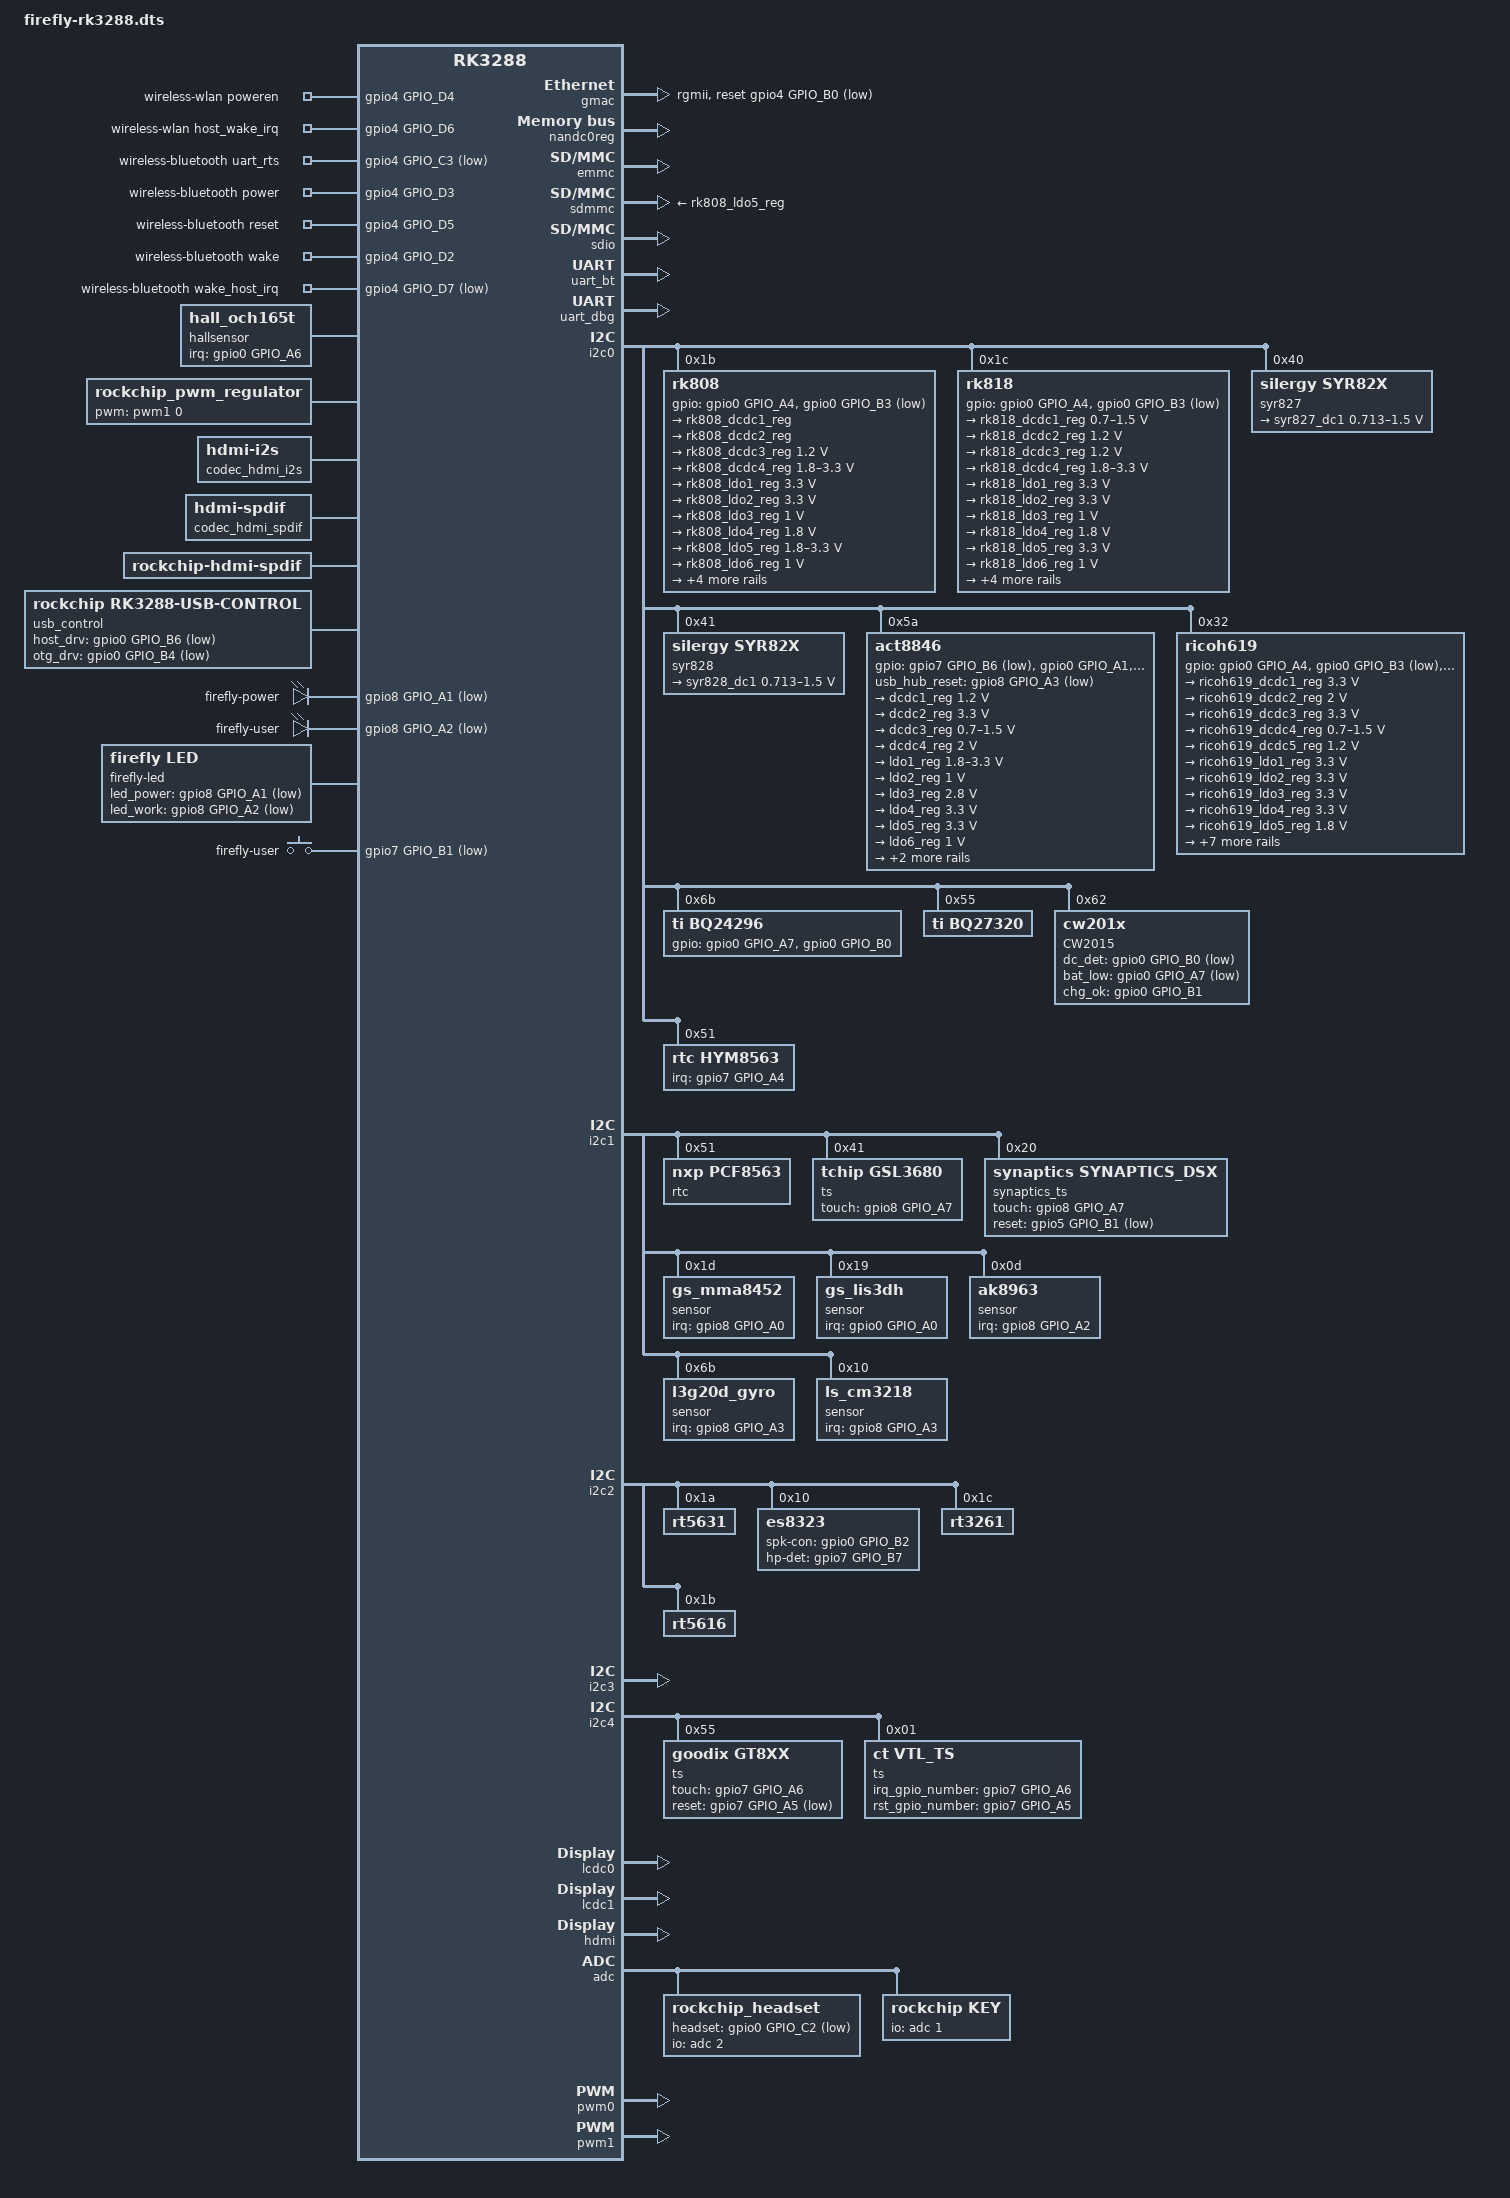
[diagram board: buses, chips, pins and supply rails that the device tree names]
/dts-v1/;

#include "rk3288.dtsi"
#include "lcd-ips5k0350fpc-mipi.dtsi"

/{
	fiq-debugger {
		status = "disabled";
	};

    	wireless-wlan {
        	compatible = "wlan-platdata";

        	/* wifi_chip_type - wifi chip define
         	* bcmwifi ==> like ap6xxx, rk90x;
         	* rtkwifi ==> like rtl8188xx, rtl8723xx;
         	* esp8089 ==> esp8089;
         	* other   ==> for other wifi;
         	*/
        	wifi_chip_type = "bcmwifi";

        	sdio_vref = <1800>; //1800mv or 3300mv

        	//keep_wifi_power_on;

        	//power_ctrl_by_pmu;
        	power_pmu_regulator = "act_ldo3";
        	power_pmu_enable_level = <1>; //1->HIGH, 0->LOW

        	//vref_ctrl_enable;
        	//vref_ctrl_gpio = <&gpio0 GPIO_A2 GPIO_ACTIVE_HIGH>;
        	vref_pmu_regulator = "act_ldo3";
        	vref_pmu_enable_level = <1>; //1->HIGH, 0->LOW

        	WIFI,poweren_gpio = <&gpio4 GPIO_D4 GPIO_ACTIVE_HIGH>;
        	WIFI,host_wake_irq = <&gpio4 GPIO_D6 GPIO_ACTIVE_HIGH>;
        	//WIFI,reset_gpio = <&gpio0 GPIO_A2 GPIO_ACTIVE_LOW>;

        	status = "okay";
    	};

    	wireless-bluetooth {
       	compatible = "bluetooth-platdata";

       	//wifi-bt-power-toggle;

       	uart_rts_gpios = <&gpio4 GPIO_C3 GPIO_ACTIVE_LOW>;
       	pinctrl-names = "default","rts_gpio";
       	pinctrl-0 = <&uart0_rts>;
       	pinctrl-1 = <&uart0_rts_gpio>;

       	BT,power_gpio = <&gpio4 GPIO_D3 GPIO_ACTIVE_HIGH>;
       	BT,reset_gpio = <&gpio4 GPIO_D5 GPIO_ACTIVE_HIGH>;
       	BT,wake_gpio = <&gpio4 GPIO_D2 GPIO_ACTIVE_HIGH>;
       	BT,wake_host_irq = <&gpio4 GPIO_D7 GPIO_ACTIVE_LOW>;

        	status = "okay";
    	};

    	hallsensor {
              compatible = "hall_och165t";
              type = <SENSOR_TYPE_HALL>;
              irq-gpio = <&gpio0 GPIO_A6 IRQ_TYPE_EDGE_BOTH>;
     	};

	pwm_regulator {
		compatible = "rockchip_pwm_regulator";
		pwms = <&pwm1 0 2000>;
		rockchip,pwm_id= <1>;
		rockchip,pwm_voltage_map= <925000 950000 975000 1000000 1025000 1050000 1075000 1100000 1125000 1150000 1175000 1200000 1225000 1250000 1275000 1300000 1325000 1350000 1375000 1400000>;
		rockchip,pwm_voltage= <1000000>;
		rockchip,pwm_min_voltage= <925000>;
		rockchip,pwm_max_voltage= <1400000>;
		rockchip,pwm_suspend_voltage= <950000>;
		rockchip,pwm_coefficient= <475>;
		regulators {
			#address-cells = <1>;
			#size-cells = <0>;
			pwm_reg0: regulator@0 {
				regulator-compatible = "pwm_dcdc1";
				regulator-name= "vdd_logic";
				regulator-min-microvolt = <925000>;
				regulator-max-microvolt = <1400000>;
				regulator-always-on;
				regulator-boot-on;
			};
		};
	};

	codec_hdmi_i2s: codec-hdmi-i2s {
		compatible = "hdmi-i2s";
	};

	codec_hdmi_spdif: codec-hdmi-spdif {
		compatible = "hdmi-spdif";
	};

	rockchip-hdmi-i2s {
		compatible = "rockchip-hdmi-i2s";
		dais {
			dai0 {
				audio-codec = <&codec_hdmi_i2s>;
				i2s-controller = <&i2s>;
				format = "i2s";
				//continuous-clock;
				//bitclock-inversion;
				//frame-inversion;
				//bitclock-master;
				//frame-master;
			};
		};
	};
	
	rockchip-hdmi-spdif {
		compatible = "rockchip-hdmi-spdif";
		dais {
			dai0 {
				audio-codec = <&codec_hdmi_spdif>;
				i2s-controller = <&spdif>;
			};
		};
	};

	rockchip-rt5631 {
		compatible = "rockchip-rt5631";
		dais {
			dai0 {
				audio-codec = <&rt5631>;
				i2s-controller = <&i2s>;
				format = "i2s";
				//continuous-clock;
				//bitclock-inversion;
				//frame-inversion;
				//bitclock-master;
				//frame-master;
			};
		};
	};
	
	rockchip-es8323 {
		compatible = "rockchip-es8323";
		dais {
			dai0 {
				audio-codec = <&es8323>;
				i2s-controller = <&i2s>;
				format = "i2s";
				//continuous-clock;
				//bitclock-inversion;
				//frame-inversion;
				//bitclock-master;
				//frame-master;
			};
		};
	};
	
	rockchip-rt3224 {
		compatible = "rockchip-rt3261";
		dais {
			dai0 {
				audio-codec = <&rt3261>;
				i2s-controller = <&i2s>;
				format = "i2s";
				//continuous-clock;
				//bitclock-inversion;
				//frame-inversion;
				//bitclock-master;
				//frame-master;
			};
			dai1 {
				audio-codec = <&rt3261>;
				i2s-controller = <&i2s>;
				format = "dsp_a";
				//continuous-clock;
				bitclock-inversion;
				//frame-inversion;
				//bitclock-master;
				//frame-master;
			};
		};
	};

	usb_control {
		compatible = "rockchip,rk3288-usb-control";

		host_drv_gpio = <&gpio0 GPIO_B6 GPIO_ACTIVE_LOW>;
		otg_drv_gpio = <&gpio0 GPIO_B4 GPIO_ACTIVE_LOW>;

		rockchip,remote_wakeup;
		rockchip,usb_irq_wakeup;
	};
	
	leds {
		compatible = "gpio-leds";
		power {
			label = "firefly-power";
			linux,default-trigger = "ir-power-click";
			default-state = "on";
			gpios = <&gpio8 GPIO_A1 GPIO_ACTIVE_LOW>;

		};
		
		user{
			label = "firefly-user";
			linux,default-trigger = "ir-user-click";
			default-state = "off";
			gpios = <&gpio8 GPIO_A2 GPIO_ACTIVE_LOW>;
		};
	};

	/*add by qiyei2009*/
	firefly-led{
		compatible = "firefly,led";
		led_power = <&gpio8 GPIO_A1 GPIO_ACTIVE_LOW>;
		led_work = <&gpio8 GPIO_A2 GPIO_ACTIVE_LOW>;
		status = "okay";

	};
	
	/*add by qiyei2009*/
	gpio_keys {
		compatible = "gpio-keys";

		menu {
			label = "firefly-user";
			linux,code = <139>;
			gpios = <&gpio7 GPIO_B1 1>;
			//gpio-key,wakeup;
		};
	};
	
};

&gmac {
//	power_ctl_by = "gpio";	//"gpio" "pmu"
	power-gpio = <&gpio0 GPIO_A6 GPIO_ACTIVE_HIGH>;
//	power-pmu = "act_ldo"
	reset-gpio = <&gpio4 GPIO_B0 GPIO_ACTIVE_LOW>;
	phy-mode = "rgmii";
	clock_in_out = "input";
	tx_delay = <0x30>;
	rx_delay = <0x20>;
	status = "okay";  //if want to use gmac, please set "okay"
};

&pinctrl {
	//used for init some gpio

	gpio0_gpio {
			gpio0_c2: gpio0-c2 {
				rockchip,pins = <GPIO0_C2>;
				rockchip,pull = <VALUE_PULL_DOWN>;
			};

			//to add
		};
		
	gpio7_gpio {
			gpio7_b7: gpio7-b7 {
				rockchip,pins = <GPIO7_B7>;
				rockchip,pull = <VALUE_PULL_UP>;
			};

			//to add
		};
		
	//could add other pinctrl definition such as gpio

	// gmac drive strength
	gpio4_gmac {
		mac_clk: mac-clk {
			rockchip,drive = <VALUE_DRV_12MA>;
		};

		mac_txpins: mac-txpins {
			rockchip,drive = <VALUE_DRV_12MA>;
		};

		mac_rxpins: mac-rxpins {
			rockchip,drive = <VALUE_DRV_12MA>;
		};

		mac_crs: mac-crs {
			rockchip,drive = <VALUE_DRV_12MA>;
		};

		mac_mdpins: mac-mdpins {
			rockchip,drive = <VALUE_DRV_12MA>;
		};
	};
};

&nandc0 {
	status = "disabled"; // used nand set "disabled" ,used emmc set "okay"
};

&nandc1 {
	status = "disabled"; // used nand set "disabled" ,used emmc set "okay"
};   

&nandc0reg {
	status = "okay"; // used nand set "disabled" ,used emmc set "okay"
};

&emmc {
	clock-frequency = <100000000>;
	clock-freq-min-max = <400000 100000000>;

        supports-highspeed;
	supports-emmc;
        bootpart-no-access;
	
	//supports-tSD;
	//supports-DDR_MODE; //you should set the two value in your project. only close in RK3288-SDK board.
	//caps2-mmc-hs200;

        ignore-pm-notify;
	keep-power-in-suspend;
	
	//poll-hw-reset 
	status = "okay";
};
    
&sdmmc {
		clock-frequency = <50000000>;
		clock-freq-min-max = <400000 50000000>;
		supports-highspeed;
		supports-sd;
		broken-cd;
		card-detect-delay = <200>;

		ignore-pm-notify;
        	keep-power-in-suspend;
	
        	vmmc-supply = <&rk808_ldo5_reg>;
		status = "okay";
};
		
&sdio {
		clock-frequency = <50000000>;
		clock-freq-min-max = <200000 50000000>;
		supports-highspeed;
		supports-sdio;
		ignore-pm-notify;
		keep-power-in-suspend;
		//cap-sdio-irq;
		status = "okay";
};

&spi0 {
	status = "disabled";
	max-freq = <48000000>;	
	/*
	spi_test@00 {
     		compatible = "rockchip,spi_test_bus0_cs0";
                reg = <0>;
                spi-max-frequency = <24000000>;
                //spi-cpha;
		//spi-cpol;
                poll_mode = <0>;
	        type = <0>;
		enable_dma = <0>;

	};

	spi_test@01 {
	        compatible = "rockchip,spi_test_bus0_cs1";
	        reg = <1>;
	        spi-max-frequency = <24000000>;
	        spi-cpha;
		spi-cpol;
	        poll_mode = <0>;
	        type = <0>;
		enable_dma = <0>;	        
	};
	*/
};

&spi1 {
	status = "disabled";
	max-freq = <48000000>;
	/*
	spi_test@10 {
	        compatible = "rockchip,spi_test_bus1_cs0";
	        reg = <0>;
	        spi-max-frequency = <24000000>;
	        //spi-cpha;
		//spi-cpol;
	        poll_mode = <0>;
	        type = <0>;
		enable_dma = <0>;
	};

	*/
};

&spi2 {
	status = "disabled";
	max-freq = <48000000>;
	/*
	spi_test@20 {
	        compatible = "rockchip,spi_test_bus2_cs0";
	        reg = <0>;
	        spi-max-frequency = <24000000>;
	        //spi-cpha;
		//spi-cpol;
	        poll_mode = <0>;
	        type = <0>;
		enable_dma = <0>;
	};

	spi_test@21 {
	        compatible = "rockchip,spi_test_bus2_cs1";
	        reg = <1>;
	        spi-max-frequency = <24000000>;
	        //spi-cpha;
		//spi-cpol;
	        poll_mode = <0>;
	        type = <0>;
		enable_dma = <0>;
	};
	*/
};

&uart_bt {
        status = "okay";
        dma-names = "!tx", "!rx";
        pinctrl-0 = <&uart0_xfer &uart0_cts>;
};

&uart_dbg {
	status = "okay";
};


&i2c0 {
	status = "okay";
	rk808: rk808@1b {
		reg = <0x1b>;
		status = "okay";
	};
	rk818: rk818@1c {
		reg = <0x1c>;
		status = "okay";
 	};
		syr827: syr827@40 {
		compatible = "silergy,syr82x";
  	reg = <0x40>;
		status = "okay";
		regulators {
			#address-cells = <1>;
			#size-cells = <0>;	
			syr827_dc1: regulator@0 {
			reg = <0>;
			regulator-compatible = "syr82x_dcdc1";
			regulator-name = "vdd_arm";
			regulator-min-microvolt = <712500>;
			regulator-max-microvolt = <1500000>;
			regulator-always-on;
			regulator-boot-on;
			regulator-initial-mode = <0x2>;
			regulator-initial-state = <3>;
			regulator-state-mem {
				regulator-state-mode = <0x2>;
				regulator-state-disabled;
				regulator-state-uv = <900000>;
			};
		};
	   };
	};
	
	syr828: syr828@41 {
		compatible = "silergy,syr82x";
		reg = <0x41>;
		status = "okay";
		regulators {
			#address-cells = <1>;
			#size-cells = <0>;	
			syr828_dc1: regulator@0 {
			reg = <0>;
			regulator-compatible = "syr82x_dcdc1";
			regulator-name = "vdd_gpu";
			regulator-min-microvolt = <712500>;
			regulator-max-microvolt = <1500000>;
			regulator-always-on;
  		regulator-boot-on;
			regulator-initial-mode = <0x2>;
			regulator-initial-state = <3>;
			regulator-state-mem {
				regulator-state-mode = <0x2>;
				regulator-state-enabled;
				regulator-state-uv = <900000>;
			};	
		};
	   };
	};
	
	act8846: act8846@5a {
		reg = <0x5a>;
		status = "okay";
	};

	ricoh619: ricoh619@32 {
		reg = <0x32>;
 		status = "okay";
 	};
	
	bq24296: bq24296@6b {
		compatible = "ti,bq24296";
		reg = <0x6b>;
		gpios = <&gpio0 GPIO_A7 GPIO_ACTIVE_HIGH>,<&gpio0 GPIO_B0 GPIO_ACTIVE_HIGH>;
		bq24296,chg_current = <1000 2000 3000>;
		status = "okay";
	};
	
	bq27320: bq27320@55 {
		compatible = "ti,bq27320";
		reg = <0x55>;
	/*   gpios = <&gpio0 GPIO_A7 GPIO_ACTIVE_HIGH>; */
		status = "okay";
	};

	CW2015@62 {
		compatible = "cw201x";
		reg = <0x62>;
		dc_det_gpio = <&gpio0 GPIO_B0 GPIO_ACTIVE_LOW>;
		bat_low_gpio = <&gpio0 GPIO_A7 GPIO_ACTIVE_LOW>;
		chg_ok_gpio = <&gpio0 GPIO_B1 GPIO_ACTIVE_HIGH>;
		bat_config_info = <0x15 0x42 0x60 0x59 0x52 0x58 0x4D 0x48 0x48 0x44 0x44 0x46 0x49 0x48 0x32
			0x24 0x20 0x17 0x13 0x0F 0x19 0x3E 0x51 0x45 0x08 0x76 0x0B 0x85 0x0E 0x1C 0x2E 0x3E 0x4D 0x52 0x52
			0x57 0x3D 0x1B 0x6A 0x2D 0x25 0x43 0x52 0x87 0x8F 0x91 0x94 0x52 0x82 0x8C 0x92 0x96 0xFF 0x7B 0xBB
			0xCB 0x2F 0x7D 0x72 0xA5 0xB5 0xC1 0x46 0xAE>;
		is_dc_charge = <1>;
		is_usb_charge = <0>;
	};
	
	rtc@51 {
		compatible = "rtc,hym8563";
		reg = <0x51>;
		irq_gpio = <&gpio7 GPIO_A4 IRQ_TYPE_EDGE_FALLING>;
	};


};

&i2c1 {
	
	status = "okay";
	
	rtc@51 {
		compatible = "nxp,pcf8563";
		reg = <0x51>;
	};
	
    	ts@41 { 
        	compatible = "tchip,gsl3680";
        	reg = <0x41>;
        	touch-gpio = <&gpio8 GPIO_A7 IRQ_TYPE_EDGE_RISING>;
        	//reset-gpio = <&gpio8 GPIO_A6 GPIO_ACTIVE_LOW>;
        	max-x = <1280>;
        	max-y = <800>;
    	};   

	synaptics_ts@20 {
		compatible = "synaptics,synaptics_dsx";
		reg = <0x20>;
        	touch-gpio = <&gpio8 GPIO_A7 IRQ_TYPE_EDGE_FALLING>;
		reset-gpio = <&gpio5 GPIO_B1 GPIO_ACTIVE_LOW>;
		//power-gpio = <&gpio0 GPIO_C5 GPIO_ACTIVE_LOW>;
		max-x = <1080>;
		max-y = <1920>;
		flip-x = <0>;
		flip-y = <0>;
	};

	sensor@1d {
		compatible = "gs_mma8452";
		reg = <0x1d>;
		type = <SENSOR_TYPE_ACCEL>;
		irq-gpio = <&gpio8 GPIO_A0 IRQ_TYPE_EDGE_FALLING>;
		irq_enable = <1>;
		poll_delay_ms = <30>;
		layout = <1>;
	};
	
	sensor@19 {
		compatible = "gs_lis3dh";
		reg = <0x19>;
		type = <SENSOR_TYPE_ACCEL>;
		irq-gpio = <&gpio0 GPIO_A0 IRQ_TYPE_LEVEL_LOW>;
		irq_enable = <1>;
		poll_delay_ms = <30>;
		layout = <1>;
	};
	
	sensor@0d {
		compatible = "ak8963";
		reg = <0x0d>;
		type = <SENSOR_TYPE_COMPASS>;
		irq-gpio = <&gpio8 GPIO_A2 IRQ_TYPE_EDGE_RISING>;
		irq_enable = <1>;
		poll_delay_ms = <30>;
		layout = <1>;
	};

	sensor@6b {
		compatible = "l3g20d_gyro";
		reg = <0x6b>;
		type = <SENSOR_TYPE_GYROSCOPE>;
		irq-gpio = <&gpio8 GPIO_A3 IRQ_TYPE_LEVEL_LOW>;
		irq_enable = <1>;
		poll_delay_ms = <30>;
		layout = <1>;
	};
	
	sensor@10 {
              compatible = "ls_cm3218";
              reg = <0x10>;
              type = <SENSOR_TYPE_LIGHT>;
              irq-gpio = <&gpio8 GPIO_A3 IRQ_TYPE_EDGE_FALLING>;              
              irq_enable = <1>;
              poll_delay_ms = <30>;
              layout = <1>;
       };

    	nfc-bcm2079x@76 {
        	compatible = "nfc-bcm2079x.ap6441";
        	reg = <0x76>;
        	en_gpio = <&gpio4 GPIO_D3 GPIO_ACTIVE_HIGH>;
        	wake_gpio = <&gpio5 GPIO_C0 GPIO_ACTIVE_HIGH>;
        	irq_gpio = <&gpio5 GPIO_B7 IRQ_TYPE_EDGE_RISING>;
        	status = "disabled";
    	};
		
    	nfc-bcm2079x@77 {
        	compatible = "nfc-bcm2079x.ap6493";
        	reg = <0x77>;
        	en_gpio = <&gpio4 GPIO_D3 GPIO_ACTIVE_HIGH>;
        	wake_gpio = <&gpio5 GPIO_C0 GPIO_ACTIVE_HIGH>;
        	irq_gpio = <&gpio5 GPIO_B7 IRQ_TYPE_EDGE_RISING>;
        	status = "disabled";
    	};
};

&i2c2 {
	status = "okay";
	
	rt5631: rt5631@1a {
		compatible = "rt5631";
		reg = <0x1a>;
	};
	
	es8323: es8323@10 {
		compatible = "es8323";
		reg = <0x10>;
		spk-con-gpio = <&gpio0 GPIO_B2 GPIO_ACTIVE_HIGH>;
		hp-det-gpio = <&gpio7 GPIO_B7 GPIO_ACTIVE_HIGH>;
		hp-mic-only = <1>;
	};
	
	rt3261: rt3261@1c {
		compatible = "rt3261";
		reg = <0x1c>;
	//	codec-en-gpio = <0>;//sdk default high level
		spk-num= <2>;
		modem-input-mode = <1>;
		lout-to-modem_mode = <1>;
		spk-amplify = <2>;
		playback-if1-data_control = <0>;
		playback-if2-data_control = <0>;
	};
	
	rt5616: rt5616@1b {
		compatible = "rt5616";
		reg = <0x1b>;
	};
};

&i2c3 {
	status = "okay";
};

&i2c4 {
	status = "okay";
	ts@55 {
		compatible = "goodix,gt8xx";
		reg = <0x55>;
		touch-gpio = <&gpio7 GPIO_A6 IRQ_TYPE_LEVEL_LOW>;
		reset-gpio = <&gpio7 GPIO_A5 GPIO_ACTIVE_LOW>;
		//power-gpio = <&gpio0 GPIO_C5 GPIO_ACTIVE_LOW>;
		max-x = <1280>;
		max-y = <800>;
	};
	
	ts@01 {
		compatible = "ct,vtl_ts";
		reg = <0x01>;
		screen_max_x = <2048>;
		screen_max_y = <1536>;
		irq_gpio_number = <&gpio7 GPIO_A6 IRQ_TYPE_LEVEL_LOW>;
		rst_gpio_number = <&gpio7 GPIO_A5 GPIO_ACTIVE_HIGH>;
	};
};

&i2c5 {
	status = "disabled";
};

&fb {
	rockchip,disp-mode = <DUAL>;
	rockchip,uboot-logo-on = <0>;
};

&rk_screen {
	 display-timings = <&disp_timings>;
};

/*lcdc0 as PRMRY(LCD),lcdc1 as EXTEND(HDMI)*/
&lcdc0 {
	status = "okay";
	rockchip,mirror = <NO_MIRROR>;
	/*rockchip,mirror = <ROTATE_90>;*/
	rockchip,cabc_mode = <0>;
	power_ctr: power_ctr {
		rockchip,debug = <0>;
		/*lcd_en:lcd_en {
			rockchip,power_type = <GPIO>;
			gpios = <&gpio7 GPIO_A3 GPIO_ACTIVE_HIGH>;
			rockchip,delay = <10>;
		};*/
		
		/*lcd_cs:lcd_cs {
			rockchip,power_type = <GPIO>;
			gpios = <&gpio7 GPIO_A4 GPIO_ACTIVE_HIGH>;
			rockchip,delay = <10>;
		};*/

		lcd_rst:lcd_rst {
			rockchip,power_type = <GPIO>;
			gpios = <&gpio0 GPIO_B5 GPIO_ACTIVE_LOW>;
			rockchip,delay = <10>;
		};

	};
};

&lcdc1 {
	status = "okay";
	rockchip,mirror = <ROTATE_270>;
};

&hdmi {
	status = "okay";
	rockchips,hdmi_audio_source = <0>;
};

&adc {
	status = "okay";

	rockchip_headset {
		compatible = "rockchip_headset";
		headset_gpio = <&gpio0 GPIO_C2 GPIO_ACTIVE_LOW>;
		pinctrl-names = "default";
		pinctrl-0 = <&gpio0_c2>;
		io-channels = <&adc 2>; 
       /*
               hook_gpio = ;
               hook_down_type = ; //interrupt hook key down status 
		*/       
       };

	key {
		compatible = "rockchip,key";
		io-channels = <&adc 1>;
		/*
		vol-up-key {
			linux,code = <115>;
			label = "volume up";
			rockchip,adc_value = <1>;
		};

		vol-down-key {
			linux,code = <114>;
			label = "volume down";
			rockchip,adc_value = <170>;
		};
		*/
		power-key {
			gpios = <&gpio0 GPIO_A5 GPIO_ACTIVE_LOW>;
			linux,code = <116>;
			label = "power";
			gpio-key,wakeup;
		};
		/*
		menu-key {
			linux,code = <59>;
			label = "menu";
			rockchip,adc_value = <355>;
		};

		home-key {
			linux,code = <102>;
			label = "home";
			rockchip,adc_value = <746>;
		};

		back-key {
			linux,code = <158>;
			label = "back";
			rockchip,adc_value = <560>;
		};

		camera-key {
			linux,code = <212>;
			label = "camera";
			rockchip,adc_value = <450>;
		};*/
	};
};

&pwm0 {
        interrupts = <GIC_SPI 78 IRQ_TYPE_LEVEL_HIGH>;
        status = "okay";
};

&pwm1 {
	status = "okay";
};


&clk_core_dvfs_table {
	operating-points = <
		/* KHz    uV */
		126000 900000
		216000 900000
		312000 900000
		408000 900000
		600000 900000
		696000 950000
		816000 1000000
		1008000 1050000
		1200000 1100000
		1416000 1200000
		1512000 1300000
		1608000 1350000
		1704000 1350000
		1800000 1350000
		>;
	status="okay";
};

&clk_gpu_dvfs_table {
	operating-points = <
		/* KHz    uV */
		100000 850000
		200000 900000
		300000 950000
		420000 1050000
		500000 1150000
		>;
	status="okay";
};

&clk_ddr_dvfs_table {
	operating-points = <
		/* KHz    uV */
		200000 950000
		300000 950000
		400000 1000000
		533000 1050000
		>;

	freq-table = <
		/*status		freq(KHz)*/
		SYS_STATUS_NORMAL	400000
		SYS_STATUS_SUSPEND	200000
		SYS_STATUS_VIDEO_1080P  240000
		SYS_STATUS_VIDEO_4K     400000
		SYS_STATUS_PERFORMANCE  528000
		SYS_STATUS_DUALVIEW	400000
		SYS_STATUS_BOOST	324000
		SYS_STATUS_ISP		533000
		>;
	auto-freq-table = <
		240000
		324000
		396000
		528000
		>;
	auto-freq=<0>;
	status="okay";
};
/include/ "act8846.dtsi"
&act8846 {
	gpios =<&gpio7 GPIO_B6 GPIO_ACTIVE_LOW>,<&gpio0 GPIO_A1 GPIO_ACTIVE_HIGH>,<&gpio7 GPIO_B2 GPIO_ACTIVE_HIGH>;
	usb_hub_reset_gpio =<&gpio8 GPIO_A3 GPIO_ACTIVE_LOW>;
	act8846,system-power-controller;

	regulators {
		
		dcdc1_reg: regulator@0{
			regulator-name= "act_dcdc1";
			regulator-min-microvolt = <1200000>;
			regulator-max-microvolt = <1200000>;
			regulator-always-on;
			regulator-boot-on;
		};

		dcdc2_reg: regulator@1 {
			regulator-name= "vccio";
			regulator-min-microvolt = <3300000>;
			regulator-max-microvolt = <3300000>;
			regulator-initial-state = <3>;
			regulator-state-mem {
				regulator-state-enabled;
				regulator-state-uv = <3300000>;
			};		
		};

		dcdc3_reg: regulator@2 {
			regulator-name= "vdd_logic";
			regulator-min-microvolt = <700000>;
			regulator-max-microvolt = <1500000>;
			regulator-initial-state = <3>;
			regulator-state-mem {
				regulator-state-enabled;
				regulator-state-uv = <1200000>;
			};		
		
		};

		dcdc4_reg: regulator@3 {
			regulator-name= "act_dcdc4";
			regulator-min-microvolt = <2000000>;
			regulator-max-microvolt = <2000000>;
				regulator-initial-state = <3>;
			regulator-state-mem {
				regulator-state-enabled;
				regulator-state-uv = <2000000>;
			};
		};

		ldo1_reg: regulator@4 {
			regulator-name= "vccio_sd";
			regulator-min-microvolt = <1800000>;
			regulator-max-microvolt = <3300000>;
			
		};

		ldo2_reg: regulator@5 {
			regulator-name= "act_ldo2";
			regulator-min-microvolt = <1000000>;
			regulator-max-microvolt = <1000000>;
		
		};

		ldo3_reg: regulator@6 {
			regulator-name= "act_ldo3";
			regulator-min-microvolt = <2800000>;
			regulator-max-microvolt = <2800000>;
			
		};

		ldo4_reg:regulator@7 {
			regulator-name= "act_ldo4";
			regulator-min-microvolt = <3300000>;
			regulator-max-microvolt = <3300000>;
		
		};

		ldo5_reg: regulator@8 {
			regulator-name= "act_ldo5";
			regulator-min-microvolt = <3300000>;
			regulator-max-microvolt = <3300000>;
		
		};

		ldo6_reg: regulator@9 {
			regulator-name= "act_ldo6";
			regulator-min-microvolt = <1000000>;
			regulator-max-microvolt = <1000000>;
			regulator-initial-state = <3>;
			regulator-state-mem {
				regulator-state-enabled;
			};
			
		};

		ldo7_reg: regulator@10 {
			regulator-name= "vcc_18";
			regulator-min-microvolt = <1800000>;
			regulator-max-microvolt = <1800000>;
			regulator-initial-state = <3>;
			regulator-state-mem {
				regulator-state-enabled;
			};
		
		};

		ldo8_reg: regulator@11 {
			regulator-name= "act_ldo8";
			regulator-min-microvolt = <1800000>;
			regulator-max-microvolt = <1800000>;
		
		};
	};
};


/include/ "rk808.dtsi"
&rk808 {
	gpios =<&gpio0 GPIO_A4 GPIO_ACTIVE_HIGH>,<&gpio0 GPIO_B3 GPIO_ACTIVE_LOW>;
	rk808,system-power-controller;

	regulators {
		
		rk808_dcdc1_reg: regulator@0{
			regulator-name= "vdd_arm";
			regulator-always-on;
			regulator-boot-on;
		};

		rk808_dcdc2_reg: regulator@1 {
			regulator-name= "vdd_gpu";
			//regulator-always-on;
			//regulator-boot-on;
		};

		rk808_dcdc3_reg: regulator@2 {
			regulator-name= "rk_dcdc3";
			regulator-min-microvolt = <1200000>;
			regulator-max-microvolt = <1200000>;
			regulator-always-on;
			regulator-boot-on;
		};

		rk808_dcdc4_reg: regulator@3 {
			regulator-name= "vccio";
			regulator-min-microvolt = <1800000>;
			regulator-max-microvolt = <3300000>;
			regulator-always-on;
			regulator-boot-on;
		};

		rk808_ldo1_reg: regulator@4 {
			regulator-name= "rk_ldo1";
			regulator-min-microvolt = <3300000>;
			regulator-max-microvolt = <3300000>;
			regulator-always-on;
			regulator-boot-on;
		};

		rk808_ldo2_reg: regulator@5 {
			regulator-name= "rk_ldo2";
			regulator-min-microvolt = <3300000>;
			regulator-max-microvolt = <3300000>;
			regulator-always-on;
			regulator-boot-on;
		};

		rk808_ldo3_reg: regulator@6 {
			regulator-name= "rk_ldo3";
			regulator-min-microvolt = <1000000>;
			regulator-max-microvolt = <1000000>;
			regulator-always-on;
			regulator-boot-on;
		};

		rk808_ldo4_reg:regulator@7 {
			regulator-name= "rk_ldo4";
			regulator-min-microvolt = <1800000>;
			regulator-max-microvolt = <1800000>;
			regulator-always-on;
			regulator-boot-on;
		};

		rk808_ldo5_reg: regulator@8 {
			regulator-name= "vcc_sd";
			regulator-min-microvolt = <1800000>;
			regulator-max-microvolt = <3300000>;
			regulator-always-on;
			regulator-boot-on;
		};

		rk808_ldo6_reg: regulator@9 {
			regulator-name= "rk_ldo6";
			regulator-min-microvolt = <1000000>;
			regulator-max-microvolt = <1000000>;
			regulator-always-on;
			regulator-boot-on;
		};

		rk808_ldo7_reg: regulator@10 {
			regulator-name= "rk_ldo7";
			regulator-min-microvolt = <1800000>;
			regulator-max-microvolt = <1800000>;
			regulator-always-on;
			regulator-boot-on;
		};

		rk808_ldo8_reg: regulator@11 {
			regulator-name= "rk_ldo8";
			regulator-min-microvolt = <3300000>;
			regulator-max-microvolt = <3300000>;
			regulator-always-on;
			regulator-boot-on;
		};

		rk808_ldo9_reg: regulator@12 {
			regulator-name= "rk_ldo9";
			regulator-always-on;
			regulator-boot-on;
		};

		rk808_ldo10_reg: regulator@13 {
			regulator-name= "rk_ldo10";
			regulator-always-on;
			regulator-boot-on;
		};
	};
};

/include/ "ricoh619.dtsi"
&ricoh619 {
	gpios =<&gpio0 GPIO_A4 GPIO_ACTIVE_HIGH>,<&gpio0 GPIO_B3 GPIO_ACTIVE_LOW>,<&gpio0 GPIO_B0 GPIO_ACTIVE_HIGH>;
	ricoh619,system-power-controller;
	
	regulators {
		ricoh619_dcdc1_reg: regulator@0 {
			regulator-name = "vccio";
			regulator-min-microvolt = <3300000>;
			regulator-max-microvolt = <3300000>;
			regulator-initial-mode = <0x2>;
			regulator-initial-state = <3>;
			regulator-state-mem {
				regulator-state-mode = <0x2>;
				regulator-state-enabled;
				regulator-state-uv = <2800000>;
			};	
		};
		ricoh619_dcdc2_reg: regulator@1 {
			regulator-name = "ricoh619_dcdc2";
			regulator-min-microvolt = <2000000>;
			regulator-max-microvolt = <2000000>;
			regulator-initial-mode = <0x2>;
			regulator-initial-state = <3>;
			regulator-state-mem {
				regulator-state-mode = <0x2>;
				regulator-state-enabled;
				regulator-state-uv = <2000000>;
			};	
		};
		ricoh619_dcdc3_reg: regulator@2 {
			regulator-name = "vcc_lcd";
			regulator-min-microvolt = <3300000>;
			regulator-max-microvolt = <3300000>;
			regulator-initial-mode = <0x2>;
			regulator-initial-state = <3>;
			regulator-state-mem {
				regulator-state-mode = <0x2>;
				regulator-state-enabled;
				regulator-state-uv = <3300000>;
			};	
		};
		ricoh619_dcdc4_reg: regulator@3 {
			regulator-name = "vdd_logic";
			regulator-min-microvolt = <700000>;
			regulator-max-microvolt = <1500000>;
			regulator-initial-mode = <0x2>;
			regulator-initial-state = <3>;
			regulator-state-mem {
				regulator-state-mode = <0x2>;
				regulator-state-enabled;
				regulator-state-uv = <900000>;
			};	
		};
		ricoh619_dcdc5_reg: regulator@4 {
			regulator-name = "vcc_ddr";
			regulator-min-microvolt = <1200000>;
			regulator-max-microvolt = <1200000>;
			regulator-initial-mode = <0x2>;
			regulator-initial-state = <3>;
			regulator-state-mem {
				regulator-state-mode = <0x2>;
				regulator-state-enabled;
				regulator-state-uv = <1200000>;
			};	
		};
		ricoh619_ldo1_reg: regulator@5  {
			regulator-name = "vccio_pmu";
			regulator-min-microvolt = <3300000>;
			regulator-max-microvolt = <3300000>;
			regulator-initial-state = <3>;
			regulator-state-mem {
				regulator-state-enabled;
				regulator-state-uv = <3300000>;
			};	
		};
		ricoh619_ldo2_reg: regulator@6  {
			regulator-name = "ricoh619_ldo2";
			regulator-min-microvolt = <3300000>;
			regulator-max-microvolt = <3300000>;
			regulator-initial-state = <3>;
			regulator-state-mem {
				regulator-state-enabled;
				regulator-state-uv = <3300000>;
			};
		};
		ricoh619_ldo3_reg: regulator@7  {
			regulator-name = "ricoh619_ldo3";
			regulator-min-microvolt = <3300000>;
			regulator-max-microvolt = <3300000>;
			regulator-initial-state = <3>;
			regulator-state-mem {
				regulator-state-enabled;
				regulator-state-uv = <3300000>;
			};
		};
		ricoh619_ldo4_reg: regulator@8  {
			regulator-name = "vcc_sd";
			regulator-min-microvolt = <3300000>;
			regulator-max-microvolt = <3300000>;
			regulator-initial-state = <3>;
			regulator-state-mem {
				regulator-state-enabled;
				regulator-state-uv = <3300000>;
			};
		};
		ricoh619_ldo5_reg: regulator@9  {
			regulator-name = "vcc_wl";
			regulator-min-microvolt = <1800000>;
			regulator-max-microvolt = <1800000>;
			regulator-initial-state = <3>;
			regulator-state-mem {
				regulator-state-enabled;
				regulator-state-uv = <1800000>;
			};
		};
		ricoh619_ldo6_reg: regulator@10  {
			regulator-name = "ricoh619_ldo6";
			regulator-min-microvolt = <1800000>;
			regulator-max-microvolt = <1800000>;
			regulator-initial-state = <3>;
			regulator-state-mem {
				regulator-state-enabled;
				regulator-state-uv = <1800000>;
			};
		};
		ricoh619_ldo7_reg: regulator@11  {
			regulator-name = "ricoh619_ldo7";
			regulator-min-microvolt = <1000000>;
			regulator-max-microvolt = <1000000>;
			regulator-initial-state = <3>;
			regulator-state-mem {
				regulator-state-enabled;
				regulator-state-uv = <1000000>;
			};
		};
		ricoh619_ldo8_reg: regulator@12  {
			regulator-name = "ricoh619_ldo8";
			regulator-min-microvolt = <3300000>;
			regulator-max-microvolt = <3300000>;
			regulator-initial-state = <3>;
			regulator-state-mem {
				regulator-state-enabled;
				regulator-state-uv = <3300000>;
			};
		};
		ricoh619_ldo9_reg: regulator@13  {
			regulator-name = "ricoh619_ldo9";
			regulator-min-microvolt = <1000000>;
			regulator-max-microvolt = <1000000>;
			regulator-initial-state = <3>;
			regulator-state-mem {
				regulator-state-enabled;
				regulator-state-uv = <1000000>;
			};
		};
		ricoh619_ldo10_reg: regulator@14  {
			regulator-name = "vcc_18";
			regulator-min-microvolt = <1800000>;
			regulator-max-microvolt = <1800000>;
			regulator-initial-state = <3>;
			regulator-state-mem {
				regulator-state-enabled;
				regulator-state-uv = <1800000>;
			};
		};
		ricoh619_ldortc1_reg: regulator@15  {
			regulator-name = "ricoh619_ldortc1";
			regulator-min-microvolt = < 3300000>;
			regulator-max-microvolt = <3300000>;
		};
		ricoh619_ldortc2_reg: regulator@16  {
			regulator-name = "ricoh619_ldortc2";
			regulator-min-microvolt = < 3300000>;
			regulator-max-microvolt = <3300000>;
		};
	};
};
/include/ "rk818.dtsi"
&rk818 {
	gpios =<&gpio0 GPIO_A4 GPIO_ACTIVE_HIGH>,<&gpio0 GPIO_B3 GPIO_ACTIVE_LOW>;
	rk818,system-power-controller;

	regulators {
		
		rk818_dcdc1_reg: regulator@0{
			regulator-name= "vdd_logic";
			regulator-min-microvolt = <700000>;
			regulator-max-microvolt = <1500000>;
			regulator-initial-mode = <0x2>;
			regulator-initial-state = <3>;
			regulator-state-mem {
				regulator-state-mode = <0x2>;
				regulator-state-enabled;
				regulator-state-uv = <900000>;
			};		
		};

		rk818_dcdc2_reg: regulator@1 {
			regulator-name= "rk818_dcdc2";
			regulator-min-microvolt = <1200000>;
			regulator-max-microvolt = <1200000>;	
			regulator-initial-mode = <0x2>;
			regulator-initial-state = <3>;
			regulator-state-mem {
				regulator-state-mode = <0x2>;
				regulator-state-enabled;
				regulator-state-uv = <1200000>;
			};	
		};

		rk818_dcdc3_reg: regulator@2 {
			regulator-name= "rk818_dcdc3";
			regulator-min-microvolt = <1200000>;
			regulator-max-microvolt = <1200000>;
				regulator-initial-mode = <0x2>;
			regulator-initial-state = <3>;
			regulator-state-mem {
				regulator-state-mode = <0x2>;
				regulator-state-enabled;
				regulator-state-uv = <1200000>;
			};	
		};

		rk818_dcdc4_reg: regulator@3 {
			regulator-name= "vccio";
			regulator-min-microvolt = <1800000>;
			regulator-max-microvolt = <3300000>;
			regulator-initial-mode = <0x2>;
			regulator-initial-state = <3>;
			regulator-state-mem {
				regulator-state-mode = <0x2>;
				regulator-state-enabled;
				regulator-state-uv = <2800000>;
			};	
		};

		rk818_ldo1_reg: regulator@4 {
			regulator-name= "rk818_ldo1";
			regulator-min-microvolt = <3300000>;
			regulator-max-microvolt = <3300000>;
			regulator-initial-state = <3>;
			regulator-state-mem {
				regulator-state-enabled;
				regulator-state-uv = <3300000>;
			};	
		};

		rk818_ldo2_reg: regulator@5 {
			regulator-name= "rk818_ldo2";
			regulator-min-microvolt = <3300000>;
			regulator-max-microvolt = <3300000>;
			regulator-initial-state = <3>;
			regulator-state-mem {
				regulator-state-enabled;
				regulator-state-uv = <3300000>;
			};	
		};

		rk818_ldo3_reg: regulator@6 {
			regulator-name= "rk818_ldo3";
			regulator-min-microvolt = <1000000>;
			regulator-max-microvolt = <1000000>;
			regulator-initial-state = <3>;
			regulator-state-mem {
				regulator-state-enabled;
				regulator-state-uv = <1000000>;
			};	
		};

		rk818_ldo4_reg:regulator@7 {
			regulator-name= "rk818_ldo4";
			regulator-min-microvolt = <1800000>;
			regulator-max-microvolt = <1800000>;
			regulator-initial-state = <3>;
			regulator-state-mem {
				regulator-state-disabled;
				regulator-state-uv = <1800000>;
			};
		};

		rk818_ldo5_reg: regulator@8 {
			regulator-name= "rk818_ldo5";
			regulator-min-microvolt = <3300000>;
			regulator-max-microvolt = <3300000>;
			regulator-initial-state = <3>;
			regulator-state-mem {
				regulator-state-enabled;
				regulator-state-uv = <3300000>;
			};
		};

		rk818_ldo6_reg: regulator@9 {
			regulator-name= "rk818_ldo6";
			regulator-min-microvolt = <1000000>;
			regulator-max-microvolt = <1000000>;
			regulator-initial-state = <3>;
			regulator-state-mem {
				regulator-state-disabled;
				regulator-state-uv = <1000000>;
			};	
		};

		rk818_ldo7_reg: regulator@10 {
			regulator-name= "rk818_ldo7";
			regulator-min-microvolt = <1800000>;
			regulator-max-microvolt = <1800000>;
			regulator-initial-state = <3>;
			regulator-state-mem {
				regulator-state-enabled;
				regulator-state-uv = <1800000>;
			};	
		};

		rk818_ldo8_reg: regulator@11 {
			regulator-name= "rk818_ldo8";
			regulator-min-microvolt = <1800000>;
			regulator-max-microvolt = <1800000>;
			regulator-initial-state = <3>;
			regulator-state-mem {
				regulator-state-enabled;
				regulator-state-uv = <1800000>;
			};	
		};
		rk818_ldo9_reg: regulator@12 {
			regulator-name= "vcc_sd";
			regulator-min-microvolt = <1800000>;
  		regulator-max-microvolt = <3300000>;
			regulator-initial-state = <3>;
			regulator-state-mem {
				regulator-state-enabled;
				regulator-state-uv = <3300000>;
			};
		};
		rk818_ldo10_reg: regulator@13 {
			regulator-name= "rk818_ldo10";
			regulator-state-mem {
				regulator-state-disabled;
			};
		};
	};
       battery {
		ocv_table = <3350 3677 3693 3719 3752 3770 3775 3778 3785 3796 3812 3839 3881 3907 3933 3958 3978 4033 4087 4123 4174>;
		design_capacity = <2100>;
		design_qmax = <2200>;
		max_overcharge = <100>;
		max_charge_currentma = <1500>;
		max_charge_voltagemv = <4260>;
		max_bat_voltagemv = <4200>;
        };
};

&lcdc_vdd_domain {
	regulator-name = "vcc30_lcd";
	};
&dpio_vdd_domain{
	regulator-name = "vcc18_cif";	
	};
&flash0_vdd_domain{
	regulator-name = "vcc_flash";	
	};
&flash1_vdd_domain{
	regulator-name = "vcc_flash";			
	};
&apio3_vdd_domain{
	regulator-name = "vccio_wl";		
	};
&apio5_vdd_domain{
	regulator-name = "vccio";		
	};
&apio4_vdd_domain{
	regulator-name = "vccio";		
	};
&apio1_vdd_domain{
	regulator-name = "vccio";			
	};
&apio2_vdd_domain{

	regulator-name = "vccio";		
	};
&sdmmc0_vdd_domain{
	regulator-name = "vcc_sd";			
	};

&ion_cma {
       reg = <0x40000000 0x28000000>; /* 640MB */
};

&dwc_control_usb {
	usb_uart {
		status = "disabled";
	};
};
